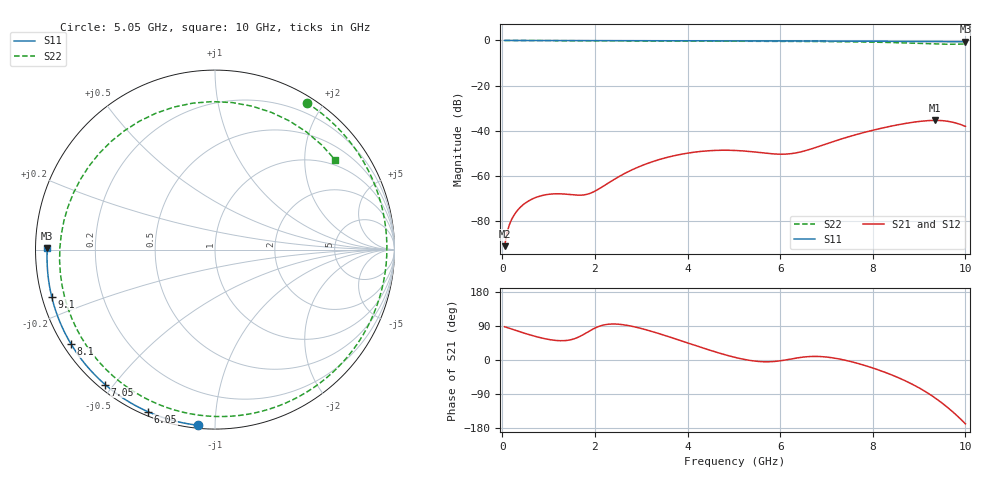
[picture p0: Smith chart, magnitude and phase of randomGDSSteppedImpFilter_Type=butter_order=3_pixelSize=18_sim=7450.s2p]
! freq	dB(S11)	phase(S11)	dB(S12)	phase(S12)
!  dB(S21)	phase(S21)	dB(S22)	phase(S22)
!S-par simulation data
#  GHz  S  DB  R 50
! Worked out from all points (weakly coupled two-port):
!   200 points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, 50 MHz to 10 GHz, reference 50 ohm
!   highest |S21| = -35.44 dB at 9.35 GHz (marker M1); lowest = -91.2 dB at 50 MHz (marker M2)
!   lowest |S11| = -0.6 dB at 10 GHz (marker M3), VSWR 29.38, Z = 1.7 + j0.234 ohm
!   |S11| at or under -10 dB: nowhere
!   |S22| runs from -1.7 to 0.0 dB; largest |S21 - S12| = 0
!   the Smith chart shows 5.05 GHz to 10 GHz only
!   S11 on the Smith chart (normalised r, x): 5.05 GHz: 0.02, -0.91; 6.05 GHz: 0.02, -0.67; 7.05 GHz: 0.02, -0.48; 8.1 GHz: 0.02, -0.30; 9.1 GHz: 0.03, -0.14; 10 GHz: 0.03, +0.00
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0.05  -0.00 -1.0  -91.20 87.8  -91.20 87.8  -0.00 -3.2
0.2  -0.01 -4.1  -79.42 81.8  -79.42 81.8  -0.02 -12.7
0.55  -0.01 -11.1  -71.37 68.0  -71.37 68.0  -0.05 -34.7
0.95  -0.02 -19.1  -68.36 55.4  -68.36 55.4  -0.08 -59.4
1.75  -0.04 -35.0  -68.50 67.0  -68.50 67.0  -0.13 -107.1
2.6  -0.07 -51.3  -59.44 93.3  -59.44 93.3  -0.17 -155.9
3.4  -0.09 -66.2  -52.74 69.0  -52.74 69.0  -0.22 158.1
4.25  -0.12 -81.6  -49.28 35.0  -49.28 35.0  -0.27 107.3
4.65  -0.13 -88.6  -48.71 19.6  -48.71 19.6  -0.29 82.7
5.05  -0.15 -95.5  -48.79 6.2  -48.79 6.2  -0.31 58.0
5.55  -0.17 -104.0  -49.67 -4.0  -49.67 -4.0  -0.34 27.5
6.05  -0.20 -112.5  -50.43 -1.3  -50.43 -1.3  -0.38 -1.9
6.7  -0.24 -123.3  -47.90 9.4  -47.90 9.4  -0.45 -38.4
7.05  -0.27 -129.1  -45.49 7.1  -45.49 7.1  -0.50 -57.4
7.6  -0.31 -138.3  -41.97 -6.5  -41.97 -6.5  -0.62 -87.3
8.1  -0.36 -146.7  -39.33 -25.2  -39.33 -25.2  -0.78 -116.3
8.35  -0.39 -150.9  -38.19 -36.5  -38.19 -36.5  -0.89 -132.4
8.75  -0.43 -157.8  -36.64 -57.7  -36.64 -57.7  -1.12 -162.5
9.1  -0.47 -164.0  -35.70 -80.7  -35.70 -80.7  -1.38 163.9
9.35  -0.50 -168.5  -35.44 -100.5  -35.44 -100.5  -1.56 133.9
9.7  -0.55 -174.9  -36.14 -134.0  -36.14 -134.0  -1.67 83.3
10  -0.59 179.5  -38.10 -168.5  -38.10 -168.5  -1.56 36.8
